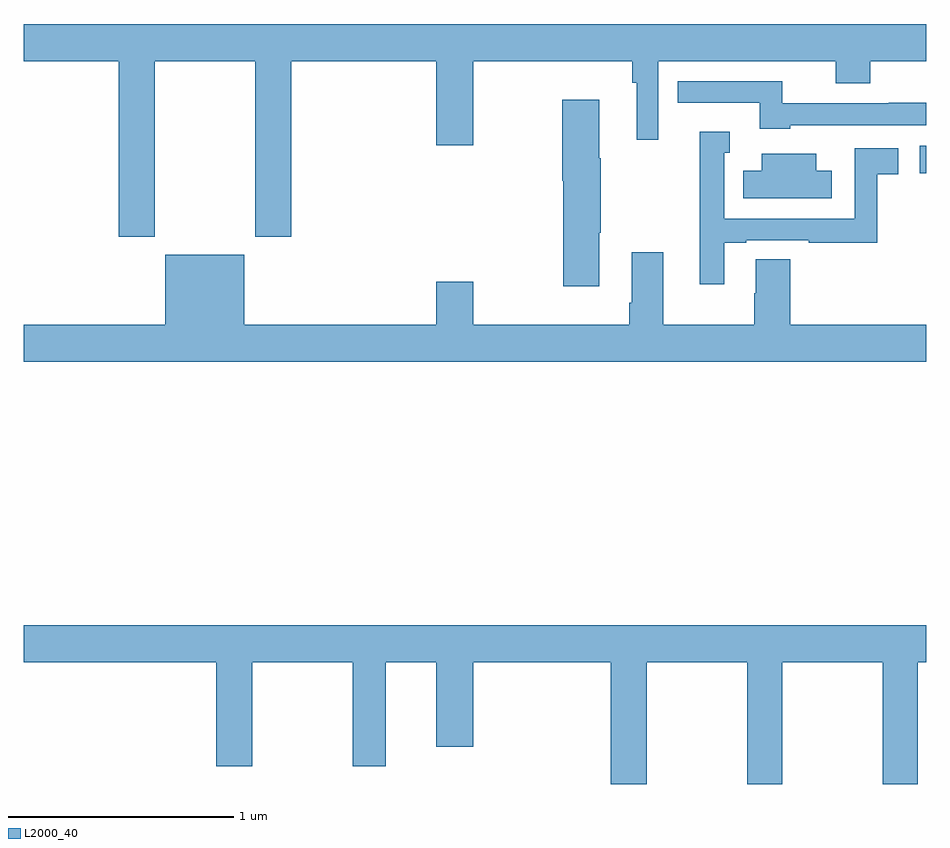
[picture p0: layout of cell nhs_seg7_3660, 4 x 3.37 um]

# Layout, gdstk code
import gdstk
lib = gdstk.Library(unit=1e-6, precision=1e-09)
def R(c, l, rs):  # rectangles x0, y0, x1, y1
    for r in rs: c.add(gdstk.rectangle(r[:2], r[2:], *l))
def P(c, l, *ps):  # polygons
    for p in ps: c.add(gdstk.Polygon(p, *l))
L2000_40 = (2000, 40)

nhs_seg7_3660 = lib.new_cell('nhs_seg7_3660')
R(nhs_seg7_3660, L2000_40, [(346.971,1078.707,347,1078.828)])
P(nhs_seg7_3660, L2000_40, [(343,1079.204),(343.421,1079.204),(343.421,1078.425),(343.581,1078.425),(343.581,1079.204),(344.026,1079.204),(344.026,1078.425),(344.186,1078.425),(344.186,1079.204),(344.828,1079.204),(344.828,1078.83),(344.992,1078.83),(344.992,1079.204),(345.697,1079.204),(345.697,1079.108),(345.716,1079.108),(345.716,1078.854),(345.813,1078.854),(345.813,1079.204),(346.598,1079.204),(346.598,1079.105),(346.751,1079.105),(346.751,1079.204),(347,1079.204),(347,1079.368),(343,1079.368)],
  [(346.398,1078.92),(347,1078.92),(347,1079.018),(346.834,1079.018),(346.834,1079.016),(346.362,1079.016),(346.362,1079.115),(345.898,1079.115),(345.898,1079.019),(346.262,1079.019),(346.262,1078.904),(346.398,1078.904)],
  [(345.55,1078.444),(345.558,1078.444),(345.558,1078.774),(345.55,1078.774),(345.55,1079.032),(345.386,1079.032),(345.386,1078.674),(345.392,1078.674),(345.392,1078.206),(345.55,1078.206)],
  [(346.105,1078.398),(346.201,1078.398),(346.201,1078.41),(346.48,1078.41),(346.48,1078.398),(346.782,1078.398),(346.782,1078.702),(346.876,1078.702),(346.876,1078.818),(346.683,1078.818),(346.683,1078.506),(346.104,1078.506),(346.104,1078.797),(346.129,1078.797),(346.129,1078.891),(345.996,1078.891),(345.996,1078.459),(345.995,1078.459),(345.995,1078.215),(346.105,1078.215)],
  [(346.582,1078.717),(346.513,1078.717),(346.513,1078.792),(346.271,1078.792),(346.271,1078.717),(346.189,1078.717),(346.189,1078.595),(346.582,1078.595)],
  [(347,1078.036),(346.397,1078.036),(346.397,1078.325),(346.244,1078.325),(346.244,1078.175),(346.237,1078.175),(346.237,1078.036),(345.835,1078.036),(345.835,1078.357),(345.695,1078.357),(345.695,1078.132),(345.683,1078.132),(345.683,1078.036),(344.992,1078.036),(344.992,1078.225),(344.828,1078.225),(344.828,1078.036),(343.978,1078.036),(343.978,1078.345),(343.628,1078.345),(343.628,1078.036),(343,1078.036),(343,1077.872),(347,1077.872)],
  [(345.762,1076.54),(346.207,1076.54),(346.207,1076),(346.362,1076),(346.362,1076.54),(346.807,1076.54),(346.807,1076),(346.962,1076),(346.962,1076.54),(347,1076.54),(347,1076.704),(343,1076.704),(343,1076.54),(343.853,1076.54),(343.853,1076.079),(344.013,1076.079),(344.013,1076.54),(344.458,1076.54),(344.458,1076.079),(344.605,1076.079),(344.605,1076.54),(344.828,1076.54),(344.828,1076.166),(344.992,1076.166),(344.992,1076.54),(345.602,1076.54),(345.602,1076),(345.762,1076)])

lib.write_gds('nhs_seg7_3660.gds')
